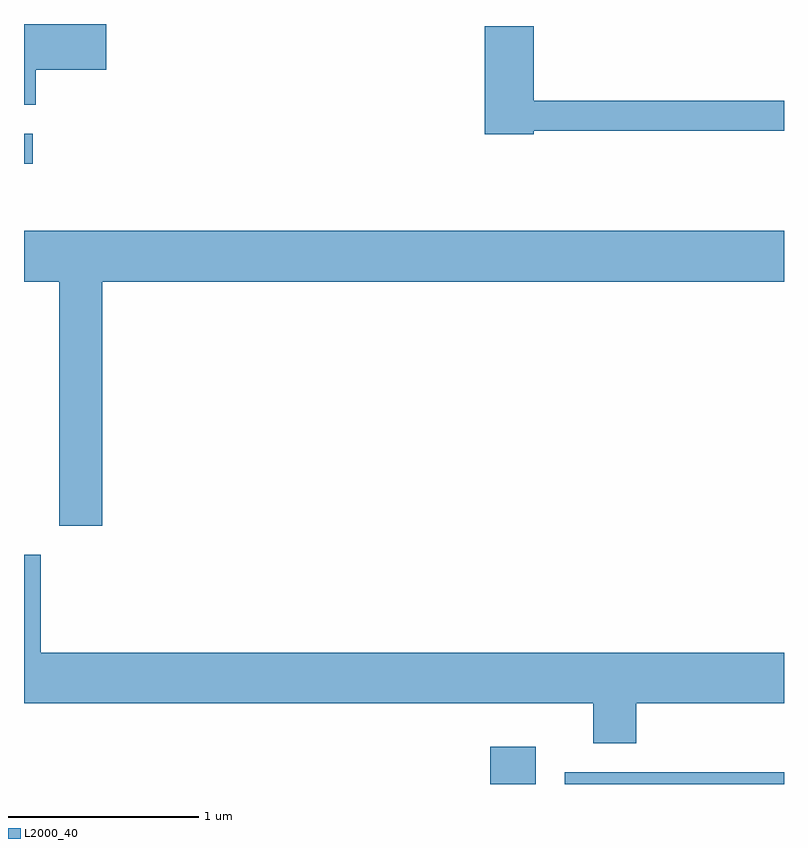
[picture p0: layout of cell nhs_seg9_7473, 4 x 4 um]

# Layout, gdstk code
import gdstk
lib = gdstk.Library(unit=1e-6, precision=1e-09)
def R(c, l, rs):  # rectangles x0, y0, x1, y1
    for r in rs: c.add(gdstk.rectangle(r[:2], r[2:], *l))
def P(c, l, *ps):  # polygons
    for p in ps: c.add(gdstk.Polygon(p, *l))
L2000_40 = (2000, 40)

nhs_seg9_7473 = lib.new_cell('nhs_seg9_7473')
R(nhs_seg9_7473, L2000_40, [(408.066,2062.432,408.304,2062.629), (408.456,2062.432,409.611,2062.494), (405.611,2065.696,405.658,2065.854)])
P(nhs_seg9_7473, L2000_40, [(405.674,2066.191),(406.044,2066.191),(406.044,2066.432),(405.611,2066.432),(405.611,2066.006),(405.674,2066.006)],
  [(408.294,2065.871),(409.611,2065.871),(409.611,2066.029),(408.294,2066.029),(408.294,2066.419),(408.036,2066.419),(408.036,2065.851),(408.294,2065.851)],
  [(406.024,2065.076),(409.611,2065.076),(409.611,2065.344),(405.611,2065.344),(405.611,2065.076),(405.796,2065.076),(405.796,2063.791),(406.024,2063.791)],
  [(408.834,2062.856),(409.611,2062.856),(409.611,2063.124),(405.699,2063.124),(405.699,2063.639),(405.611,2063.639),(405.611,2062.856),(408.606,2062.856),(408.606,2062.646),(408.834,2062.646)])

lib.write_gds('nhs_seg9_7473.gds')
